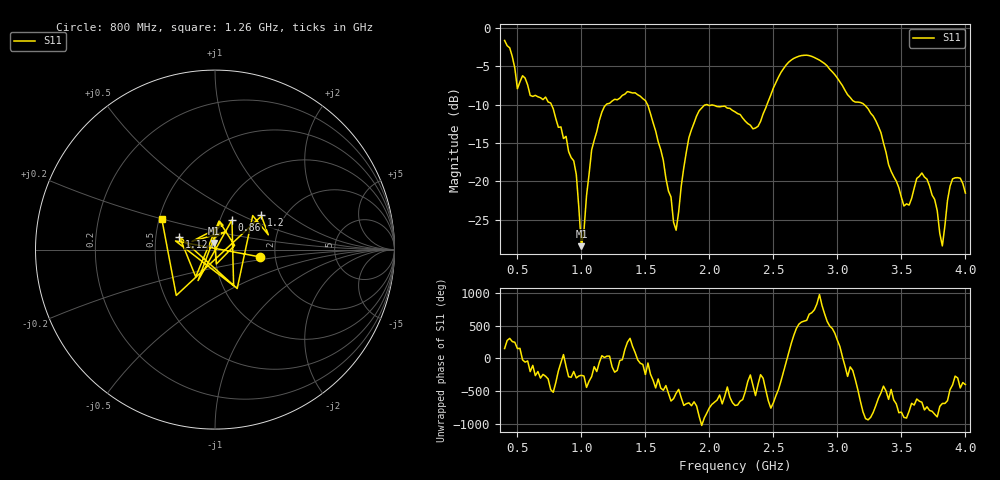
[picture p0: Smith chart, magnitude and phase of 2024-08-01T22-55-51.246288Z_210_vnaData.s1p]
!Created with skrf (http://scikit-rf.org).
# Hz S RI R 50.0
!freq ReS11 ImS11
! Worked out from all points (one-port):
!   181 points, 400 MHz to 4 GHz, reference 50 ohm
!   lowest |S11| = -28.4 dB at 1 GHz (marker M1), VSWR 1.08, Z = 49.1 + j3.63 ohm
!   |S11| at or under -10 dB: 1.517 GHz to 1.974 GHz (456.7 MHz wide, 26.2 % of centre); 1.984 GHz to 2.45 GHz (465.6 MHz wide, 21 % of centre); 3.21 GHz to end of sweep (the widest 3 of 4)
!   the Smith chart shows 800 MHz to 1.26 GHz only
!   S11 on the Smith chart (normalised r, x): 800 MHz: 1.67, -0.15; 860 MHz: 1.14, +0.39; 1.12 GHz: 0.66, +0.10; 1.2 GHz: 1.52, +0.65; 1.26 GHz: 0.52, +0.20
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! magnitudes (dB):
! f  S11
! 400 MHz  -1.6
! 500 MHz  -7.9
! 540 MHz  -6.2
! 800 MHz  -11.8
! 860 MHz  -14.4
! 960 MHz  -19.1
! 1 GHz  -28.4
! 1.08 GHz  -15.9
! 1.12 GHz  -13.5
! 1.2 GHz  -9.9
! 1.26 GHz  -9.3
! 1.3 GHz  -9.1
! 1.52 GHz  -10.1
! 1.72 GHz  -25.3
! 1.76 GHz  -24.0
! 1.84 GHz  -14.3
! 1.92 GHz  -10.8
! 2.2 GHz  -10.9
! 2.38 GHz  -12.8
! 2.66 GHz  -3.9
! 2.9 GHz  -4.6
! 3.1 GHz  -9.0
! 3.3 GHz  -12.1
! 3.56 GHz  -23.1
! 3.7 GHz  -19.7
! 3.82 GHz  -28.4
! 3.9 GHz  -19.7
! 4 GHz  -21.5
